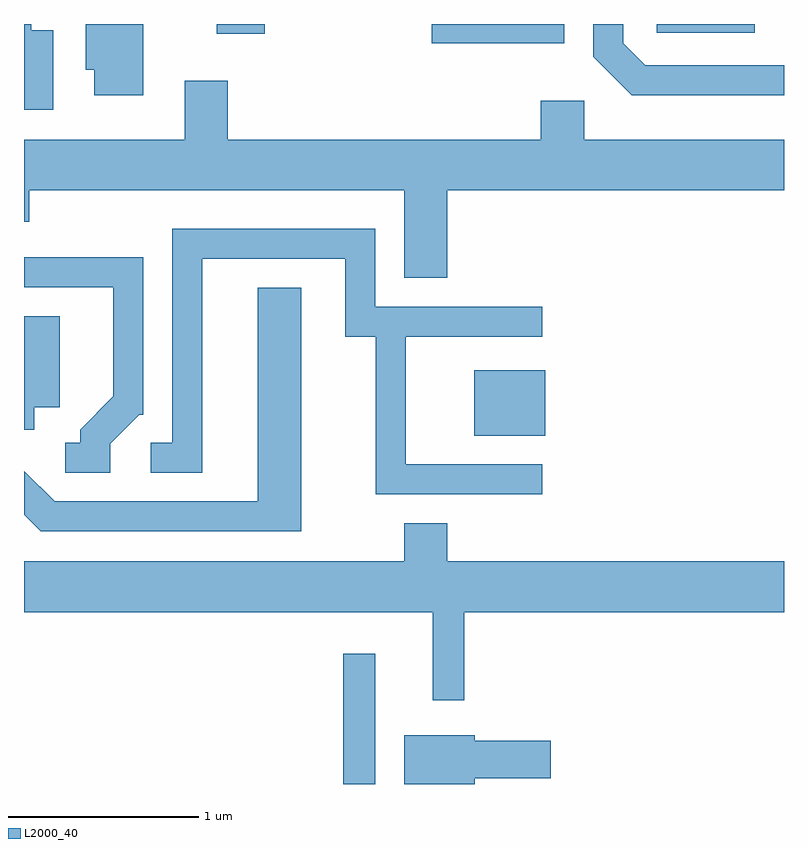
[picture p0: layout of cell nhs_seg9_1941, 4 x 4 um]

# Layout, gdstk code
import gdstk
lib = gdstk.Library(unit=1e-6, precision=1e-09)
def R(c, l, rs):  # rectangles x0, y0, x1, y1
    for r in rs: c.add(gdstk.rectangle(r[:2], r[2:], *l))
def P(c, l, *ps):  # polygons
    for p in ps: c.add(gdstk.Polygon(p, *l))
L2000_40 = (2000, 40)

nhs_seg9_1941 = lib.new_cell('nhs_seg9_1941')
R(nhs_seg9_1941, L2000_40, [(243.291,2026.432,243.459,2027.118), (243.981,2028.266,244.354,2028.609), (243.756,2030.331,244.454,2030.432), (242.626,2030.381,242.879,2030.432), (244.941,2030.386,245.458,2030.432)])
P(nhs_seg9_1941, L2000_40, [(245.611,2030.214),(244.882,2030.214),(244.764,2030.332),(244.764,2030.432),(244.606,2030.432),(244.606,2030.259),(244.809,2030.056),(245.611,2030.056)],
  [(241.764,2030.399),(241.649,2030.399),(241.649,2030.432),(241.611,2030.432),(241.611,2029.981),(241.764,2029.981)],
  [(242.239,2030.432),(241.936,2030.432),(241.936,2030.191),(241.981,2030.191),(241.981,2030.056),(242.239,2030.056)],
  [(243.839,2029.556),(245.611,2029.556),(245.611,2029.824),(244.559,2029.824),(244.559,2030.029),(244.331,2030.029),(244.331,2029.824),(242.684,2029.824),(242.684,2030.134),(242.456,2030.134),(242.456,2029.824),(241.611,2029.824),(241.611,2029.391),(241.639,2029.391),(241.639,2029.556),(243.611,2029.556),(243.611,2029.096),(243.839,2029.096)],
  [(244.338,2028.114),(243.619,2028.114),(243.619,2028.786),(244.338,2028.786),(244.338,2028.944),(243.459,2028.944),(243.459,2029.354),(242.391,2029.354),(242.391,2028.229),(242.278,2028.229),(242.278,2028.071),(242.549,2028.071),(242.549,2029.196),(243.301,2029.196),(243.301,2028.786),(243.461,2028.786),(243.461,2027.956),(244.338,2027.956)],
  [(242.064,2028.224),(242.217,2028.376),(242.239,2028.376),(242.239,2029.204),(241.611,2029.204),(241.611,2029.046),(242.081,2029.046),(242.081,2028.472),(241.906,2028.297),(241.906,2028.229),(241.828,2028.229),(241.828,2028.071),(242.064,2028.071)],
  [(243.069,2029.044),(242.841,2029.044),(242.841,2027.919),(241.772,2027.919),(241.612,2028.079),(241.611,2028.079),(241.611,2027.849),(241.699,2027.761),(243.069,2027.761)],
  [(241.664,2028.416),(241.799,2028.416),(241.799,2028.894),(241.611,2028.894),(241.611,2028.296),(241.664,2028.296)],
  [(243.929,2027.336),(245.611,2027.336),(245.611,2027.604),(243.839,2027.604),(243.839,2027.804),(243.611,2027.804),(243.611,2027.604),(241.611,2027.604),(241.611,2027.336),(243.761,2027.336),(243.761,2026.873),(243.929,2026.873)],
  [(243.984,2026.461),(244.384,2026.461),(244.384,2026.659),(243.984,2026.659),(243.984,2026.689),(243.611,2026.689),(243.611,2026.432),(243.984,2026.432)])

lib.write_gds('nhs_seg9_1941.gds')
